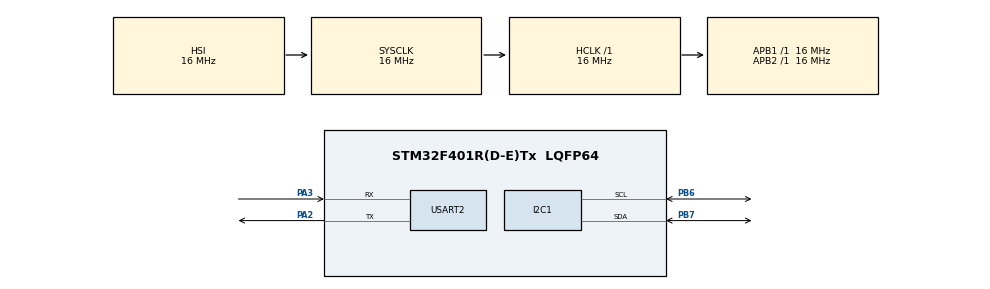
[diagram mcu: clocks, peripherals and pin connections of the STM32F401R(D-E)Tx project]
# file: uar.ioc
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I2C1.I2C_Mode=I2C_Standard
Mcu.Family=STM32F4
Mcu.Name=STM32F401R(D-E)Tx
Mcu.Package=LQFP64
NVIC.PriorityGroup=NVIC_PRIORITYGROUP_4
NVIC.USART2_IRQn=true\:0\:0\:false\:false\:true\:true\:true\:true
PA13.Mode=Serial_Wire
PA13.Signal=SYS_JTMS-SWDIO
PA14.Mode=Serial_Wire
PA14.Signal=SYS_JTCK-SWCLK
PA2.Mode=Asynchronous
PA2.Signal=USART2_TX
PA3.Mode=Asynchronous
PA3.Signal=USART2_RX
PB6.Mode=I2C
PB6.Signal=I2C1_SCL
PB7.Mode=I2C
PB7.Signal=I2C1_SDA
ProjectManager.HeapSize=0x200
ProjectManager.StackSize=0x400
ProjectManager.TargetToolchain=STM32CubeIDE
RCC.AHBFreq_Value=16000000
RCC.APB1Freq_Value=16000000
RCC.APB2Freq_Value=16000000
RCC.CortexFreq_Value=16000000
RCC.HSE_VALUE=25000000
RCC.HSI_VALUE=16000000
RCC.LSE_VALUE=32768
RCC.SYSCLKFreq_VALUE=16000000
RCC.VCOOutputFreq_Value=192000000
USART2.VirtualMode=VM_ASYNC
board=custom

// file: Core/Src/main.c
/* USER CODE BEGIN Header */
/**
  ******************************************************************************
  * @file           : main.c
  * @brief          : Main program body
  ******************************************************************************
  * @attention
  *
  * Copyright (c) 2024 STMicroelectronics.
  * All rights reserved.
  *
  * This software is licensed under terms that can be found in the LICENSE file
  * in the root directory of this software component.
  * If no LICENSE file comes with this software, it is provided AS-IS.
  *
  ******************************************************************************
  */
/* USER CODE END Header */
#include "main.h"

/* USER CODE BEGIN Includes */
#include <stdio.h>
/* USER CODE END Includes */

I2C_HandleTypeDef hi2c1;

UART_HandleTypeDef huart2;

void SystemClock_Config(void);
static void MX_GPIO_Init(void);
static void MX_USART2_UART_Init(void);
static void MX_I2C1_Init(void);

/* USER CODE BEGIN 0 */

uint8_t data[14];
int16_t accel_x, accel_y, accel_z;
int16_t gyro_x, gyro_y, gyro_z;
int16_t temp;
int16_t mag_x, mag_y, mag_z;
int32_t baro_temp, baro_pressure;

void Read_accel_temp_gyro(){
	HAL_I2C_Mem_Read(&hi2c1, (0x68 << 1), 0x3B, 1, data, 14, HAL_MAX_DELAY);
	// 2 byte
	accel_x = (data[0] << 8) | data[1];
	accel_y = (data[2] << 8) | data[3];
	accel_z = (data[4] << 8) | data[5];
	temp = (data[6] << 8) | data[7];
	gyro_x = (data[8] << 8) | data[9];
	gyro_y = (data[10] << 8) | data[11];
	gyro_z = (data[12] << 8) | data[13];
	HAL_Delay(10);
}

void Read_mag(){
	HAL_I2C_Mem_Read(&hi2c1, (0x0C << 1), 0x03, 1, data, 6, HAL_MAX_DELAY);
	// 2 byte
    mag_x = (data[1] << 8) | data[0];
    mag_y = (data[3] << 8) | data[2];
    mag_z = (data[5] << 8) | data[4];
    HAL_Delay(10);
}
void Read_baro(){
	HAL_I2C_Mem_Read(&hi2c1, (0x77 << 1), 0xF7, 1, data, 6, HAL_MAX_DELAY);
	// 3 byte
	baro_pressure = (data[0] << 12) | (data[1] << 4) | (data[2] >> 4);
	baro_temp = (data[3] << 12) | (data[4] << 4) | (data[5] >> 4);
	HAL_Delay(10);
}

void uart_output(){
	uint8_t buffer[256];
	uint16_t strlen = snprintf(buffer, sizeof(buffer),
			"Accel: X=%d, Y=%d, Z=%d\r\n"
            "Gyro: X=%d, Y=%d, Z=%d\r\n"
            "Temp: %d\r\n"
            "Mag: X=%d, Y=%d, Z=%d\r\n"
            "Baro Temp: %ld, Pressure: %ld \r\n\n",
            accel_x, accel_y, accel_z,
            gyro_x, gyro_y, gyro_z,
            temp,
            mag_x, mag_y, mag_z,
            baro_temp, baro_pressure);
	HAL_UART_Transmit(&huart2, buffer, strlen, HAL_MAX_DELAY);
	HAL_Delay(20);

}

/* USER CODE END 0 */

int main(void)
{

  /* MCU Configuration--------------------------------------------------------*/

  /* Reset of all peripherals, Initializes the Flash interface and the Systick. */
  HAL_Init();

  /* Configure the system clock */
  SystemClock_Config();

  /* Initialize all configured peripherals */
  MX_GPIO_Init();
  MX_USART2_UART_Init();
  MX_I2C1_Init();

  /* Infinite loop */
  /* USER CODE BEGIN WHILE */
  while (1)
  {
	  Read_accel_temp_gyro();
	  Read_baro();
	  Read_mag();
	  uart_output();
	  HAL_Delay(40);

    /* USER CODE END WHILE */

  }
}

void SystemClock_Config(void)
{
  RCC_OscInitTypeDef RCC_OscInitStruct = {0};
  RCC_ClkInitTypeDef RCC_ClkInitStruct = {0};

  /** Configure the main internal regulator output voltage
  */
  __HAL_RCC_PWR_CLK_ENABLE();
  __HAL_PWR_VOLTAGESCALING_CONFIG(PWR_REGULATOR_VOLTAGE_SCALE2);

  /** Initializes the RCC Oscillators according to the specified parameters
  * in the RCC_OscInitTypeDef structure.
  */
  RCC_OscInitStruct.OscillatorType = RCC_OSCILLATORTYPE_HSI;
  RCC_OscInitStruct.HSIState = RCC_HSI_ON;
  RCC_OscInitStruct.HSICalibrationValue = RCC_HSICALIBRATION_DEFAULT;
  RCC_OscInitStruct.PLL.PLLState = RCC_PLL_NONE;
  if (HAL_RCC_OscConfig(&RCC_OscInitStruct) != HAL_OK)
  {
    Error_Handler();
  }

  /** Initializes the CPU, AHB and APB buses clocks
  */
  RCC_ClkInitStruct.ClockType = RCC_CLOCKTYPE_HCLK|RCC_CLOCKTYPE_SYSCLK
                              |RCC_CLOCKTYPE_PCLK1|RCC_CLOCKTYPE_PCLK2;
  RCC_ClkInitStruct.SYSCLKSource = RCC_SYSCLKSOURCE_HSI;
  RCC_ClkInitStruct.AHBCLKDivider = RCC_SYSCLK_DIV1;
  RCC_ClkInitStruct.APB1CLKDivider = RCC_HCLK_DIV1;
  RCC_ClkInitStruct.APB2CLKDivider = RCC_HCLK_DIV1;

  if (HAL_RCC_ClockConfig(&RCC_ClkInitStruct, FLASH_LATENCY_0) != HAL_OK)
  {
    Error_Handler();
  }
}

static void MX_I2C1_Init(void)
{

  hi2c1.Instance = I2C1;
  hi2c1.Init.ClockSpeed = 100000;
  hi2c1.Init.DutyCycle = I2C_DUTYCYCLE_2;
  hi2c1.Init.OwnAddress1 = 0;
  hi2c1.Init.AddressingMode = I2C_ADDRESSINGMODE_7BIT;
  hi2c1.Init.DualAddressMode = I2C_DUALADDRESS_DISABLE;
  hi2c1.Init.OwnAddress2 = 0;
  hi2c1.Init.GeneralCallMode = I2C_GENERALCALL_DISABLE;
  hi2c1.Init.NoStretchMode = I2C_NOSTRETCH_DISABLE;
  if (HAL_I2C_Init(&hi2c1) != HAL_OK)
  {
    Error_Handler();
  }

}

static void MX_USART2_UART_Init(void)
{

  huart2.Instance = USART2;
  huart2.Init.BaudRate = 115200;
  huart2.Init.WordLength = UART_WORDLENGTH_8B;
  huart2.Init.StopBits = UART_STOPBITS_1;
  huart2.Init.Parity = UART_PARITY_NONE;
  huart2.Init.Mode = UART_MODE_TX_RX;
  huart2.Init.HwFlowCtl = UART_HWCONTROL_NONE;
  huart2.Init.OverSampling = UART_OVERSAMPLING_16;
  if (HAL_UART_Init(&huart2) != HAL_OK)
  {
    Error_Handler();
  }

}

static void MX_GPIO_Init(void)
{

  /* GPIO Ports Clock Enable */
  __HAL_RCC_GPIOA_CLK_ENABLE();
  __HAL_RCC_GPIOB_CLK_ENABLE();

}

void Error_Handler(void)
{
  __disable_irq();
  while (1)
  {
  }
}
